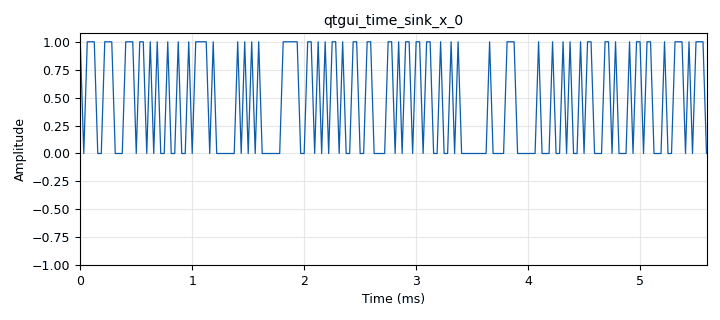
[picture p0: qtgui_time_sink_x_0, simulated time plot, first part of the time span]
options:
  parameters:
    generate_options: qt_gui
    id: untitled
    output_language: python
    title: Not titled yet
  states: {}

blocks:
- name: samp_rate
  id: variable
  parameters:
    value: '32000'
  states: {}
- name: analog_random_source_x_0
  id: analog_random_source_x
  parameters:
    max: '2'
    min: '0'
    num_samps: '1000'
    repeat: 'True'
    type: byte
  states: {}
- name: blocks_char_to_float_0
  id: blocks_char_to_float
  parameters:
    scale: '1'
  states: {}
- name: qtgui_time_sink_x_0
  id: qtgui_time_sink_x
  parameters:
    size: '1024'
    srate: samp_rate
    type: float
  states: {}

connections:
- [analog_random_source_x_0, '0', blocks_char_to_float_0, '0']
- [blocks_char_to_float_0, '0', qtgui_time_sink_x_0, '0']

metadata:
  file_format: 1
  grc_version: v3.10.11.0-89-ga17f69e7
